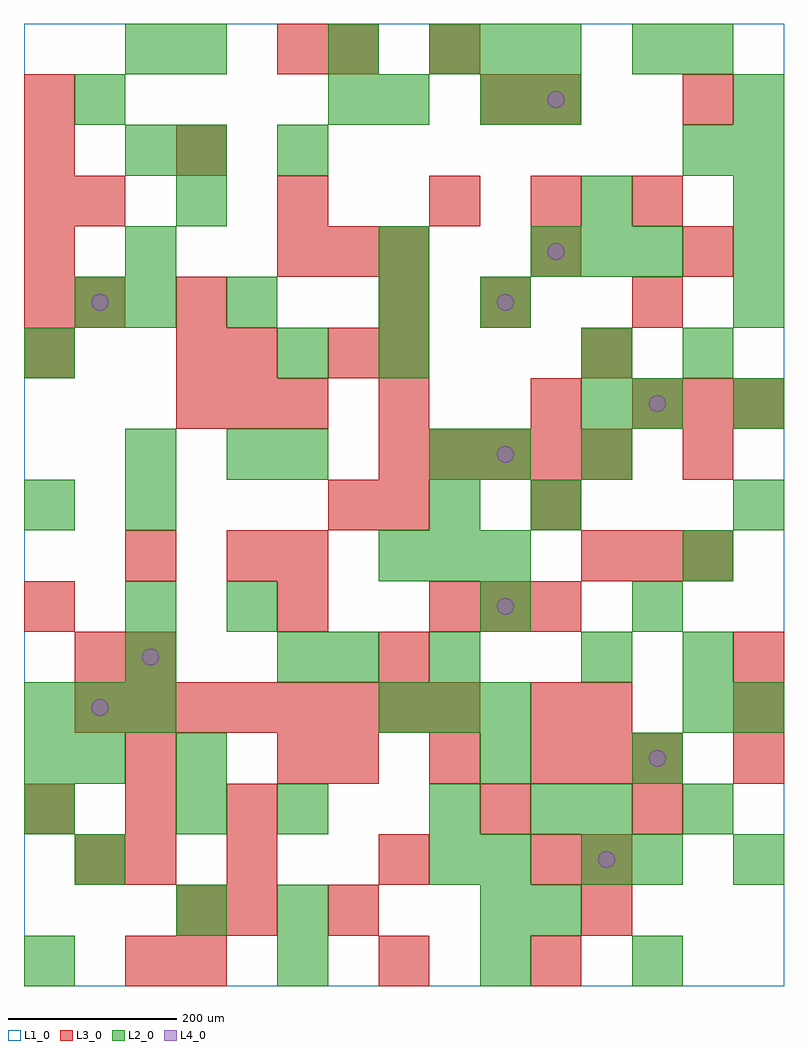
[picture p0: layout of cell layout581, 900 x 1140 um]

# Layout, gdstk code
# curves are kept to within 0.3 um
import gdstk
lib = gdstk.Library(unit=1e-6, precision=1e-09)
def R(c, l, rs):  # rectangles x0, y0, x1, y1
    for r in rs: c.add(gdstk.rectangle(r[:2], r[2:], *l))
def A(c, l, x, y, w, h, nx, ny, dx, dy):  # array of equal rectangles
    R(c, l, [(x+i*dx, y+j*dy, x+i*dx+w, y+j*dy+h) for i in range(nx) for j in range(ny)])
def P(c, l, *ps):  # polygons
    for p in ps: c.add(gdstk.Polygon(p, *l))
L1_0 = (1, 0)
L2_0 = (2, 0)
L3_0 = (3, 0)
L4_0 = (4, 0)

layout581 = lib.new_cell('layout581')
R(layout581, L1_0, [(0,0,900,1140)])
A(layout581, L2_0, 540, 0, 60, 60, 1, 3, 0, 60)
A(layout581, L2_0, 720, 0, 60, 60, 1, 3, 0, 120)
A(layout581, L2_0, 480, 180, 60, 60, 1, 3, 0, 180)
A(layout581, L2_0, 540, 240, 60, 60, 1, 4, 0, 180)
A(layout581, L2_0, 0, 300, 60, 60, 3, 1, 60, 0)
A(layout581, L2_0, 420, 300, 60, 60, 3, 2, 60, 180)
A(layout581, L2_0, 240, 420, 60, 60, 1, 3, 0, 180)
A(layout581, L2_0, 780, 480, 60, 60, 1, 3, 0, 240)
A(layout581, L2_0, 840, 540, 60, 60, 1, 3, 0, 120)
A(layout581, L2_0, 660, 600, 60, 60, 1, 3, 0, 60)
A(layout581, L2_0, 420, 720, 60, 60, 1, 3, 0, 60)
A(layout581, L2_0, 120, 840, 60, 60, 1, 3, 0, 120)
A(layout581, L2_0, 600, 840, 60, 60, 3, 1, 60, 0)
A(layout581, L2_0, 840, 840, 60, 60, 1, 4, 0, 60)
A(layout581, L2_0, 480, 1080, 60, 60, 3, 1, 60, 0)
R(layout581, L2_0, [(0,0,60,60), (300,0,360,60), (180,60,240,120), (300,60,360,120), (600,60,660,120), (60,120,120,180), (480,120,540,180), (660,120,720,180), (840,120,900,180), (0,180,60,240), (180,180,240,240), (300,180,360,240), (600,180,660,240), (660,180,720,240), (780,180,840,240), (0,240,60,300), (60,240,120,300), (180,240,240,300), (780,300,840,360), (840,300,900,360), (120,360,180,420), (300,360,360,420), (360,360,420,420), (660,360,720,420), (780,360,840,420), (120,420,180,480), (720,420,780,480), (0,540,60,600), (120,540,180,600), (600,540,660,600), (120,600,180,660), (300,600,360,660), (480,600,540,660), (720,660,780,720), (0,720,60,780), (300,720,360,780), (60,780,120,840), (120,780,180,840), (180,900,240,960), (660,900,720,960), (180,960,240,1020), (300,960,360,1020), (60,1020,120,1080), (360,1020,420,1080), (420,1020,480,1080), (540,1020,600,1080), (600,1020,660,1080), (180,1080,240,1140), (360,1080,420,1140), (720,1080,780,1140), (780,1080,840,1140)])
A(layout581, L3_0, 120, 0, 60, 60, 1, 5, 0, 120)
A(layout581, L3_0, 240, 120, 60, 60, 3, 1, 180, 0)
A(layout581, L3_0, 0, 180, 60, 60, 3, 1, 120, 0)
A(layout581, L3_0, 360, 240, 60, 60, 3, 1, 120, 0)
A(layout581, L3_0, 840, 240, 60, 60, 1, 3, 0, 60)
A(layout581, L3_0, 60, 300, 60, 60, 8, 1, 60, 0)
A(layout581, L3_0, 480, 420, 60, 60, 3, 1, 60, 0)
A(layout581, L3_0, 660, 480, 60, 60, 3, 1, 60, 0)
A(layout581, L3_0, 420, 600, 60, 60, 5, 1, 60, 0)
A(layout581, L3_0, 180, 660, 60, 60, 3, 1, 60, 0)
A(layout581, L3_0, 420, 660, 60, 60, 1, 3, 0, 60)
A(layout581, L3_0, 600, 660, 60, 60, 1, 3, 0, 180)
A(layout581, L3_0, 720, 660, 60, 60, 3, 1, 60, 0)
A(layout581, L3_0, 0, 720, 60, 60, 1, 6, 0, 60)
A(layout581, L3_0, 300, 840, 60, 60, 3, 1, 60, 0)
A(layout581, L3_0, 480, 900, 60, 60, 3, 1, 120, 0)
R(layout581, L3_0, [(180,0,240,60), (420,0,480,60), (600,0,660,60), (180,60,240,120), (240,60,300,120), (360,60,420,120), (660,60,720,120), (60,120,120,180), (660,120,720,180), (540,180,600,240), (720,180,780,240), (300,240,360,300), (660,240,720,300), (720,240,780,300), (600,300,660,360), (660,300,720,360), (60,360,120,420), (420,360,480,420), (0,420,60,480), (300,420,360,480), (240,480,300,540), (300,480,360,540), (360,540,420,600), (420,540,480,600), (600,540,660,600), (780,600,840,660), (180,720,240,780), (240,720,300,780), (360,720,420,780), (660,720,720,780), (60,780,120,840), (180,780,240,840), (540,780,600,840), (720,780,780,840), (780,840,840,900), (60,900,120,960), (300,900,360,960), (180,960,240,1020), (540,1020,600,1080), (780,1020,840,1080), (300,1080,360,1140), (360,1080,420,1140), (480,1080,540,1140)])
P(layout581, L4_0, [(100,330),(99.239,333.827),(97.071,337.071),(93.827,339.239),(90,340),(86.173,339.239),(82.929,337.071),(80.761,333.827),(80,330),(80.761,326.173),(82.929,322.929),(86.173,320.761),(90,320),(93.827,320.761),(97.071,322.929),(99.239,326.173)],
  [(100,810),(99.239,813.827),(97.071,817.071),(93.827,819.239),(90,820),(86.173,819.239),(82.929,817.071),(80.761,813.827),(80,810),(80.761,806.173),(82.929,802.929),(86.173,800.761),(90,800),(93.827,800.761),(97.071,802.929),(99.239,806.173)],
  [(160,390),(159.239,393.827),(157.071,397.071),(153.827,399.239),(150,400),(146.173,399.239),(142.929,397.071),(140.761,393.827),(140,390),(140.761,386.173),(142.929,382.929),(146.173,380.761),(150,380),(153.827,380.761),(157.071,382.929),(159.239,386.173)],
  [(580,450),(579.239,453.827),(577.071,457.071),(573.827,459.239),(570,460),(566.173,459.239),(562.929,457.071),(560.761,453.827),(560,450),(560.761,446.173),(562.929,442.929),(566.173,440.761),(570,440),(573.827,440.761),(577.071,442.929),(579.239,446.173)],
  [(580,630),(579.239,633.827),(577.071,637.071),(573.827,639.239),(570,640),(566.173,639.239),(562.929,637.071),(560.761,633.827),(560,630),(560.761,626.173),(562.929,622.929),(566.173,620.761),(570,620),(573.827,620.761),(577.071,622.929),(579.239,626.173)],
  [(580,810),(579.239,813.827),(577.071,817.071),(573.827,819.239),(570,820),(566.173,819.239),(562.929,817.071),(560.761,813.827),(560,810),(560.761,806.173),(562.929,802.929),(566.173,800.761),(570,800),(573.827,800.761),(577.071,802.929),(579.239,806.173)],
  [(640,870),(639.239,873.827),(637.071,877.071),(633.827,879.239),(630,880),(626.173,879.239),(622.929,877.071),(620.761,873.827),(620,870),(620.761,866.173),(622.929,862.929),(626.173,860.761),(630,860),(633.827,860.761),(637.071,862.929),(639.239,866.173)],
  [(640,1050),(639.239,1053.827),(637.071,1057.071),(633.827,1059.239),(630,1060),(626.173,1059.239),(622.929,1057.071),(620.761,1053.827),(620,1050),(620.761,1046.173),(622.929,1042.929),(626.173,1040.761),(630,1040),(633.827,1040.761),(637.071,1042.929),(639.239,1046.173)],
  [(700,150),(699.239,153.827),(697.071,157.071),(693.827,159.239),(690,160),(686.173,159.239),(682.929,157.071),(680.761,153.827),(680,150),(680.761,146.173),(682.929,142.929),(686.173,140.761),(690,140),(693.827,140.761),(697.071,142.929),(699.239,146.173)],
  [(760,270),(759.239,273.827),(757.071,277.071),(753.827,279.239),(750,280),(746.173,279.239),(742.929,277.071),(740.761,273.827),(740,270),(740.761,266.173),(742.929,262.929),(746.173,260.761),(750,260),(753.827,260.761),(757.071,262.929),(759.239,266.173)],
  [(760,690),(759.239,693.827),(757.071,697.071),(753.827,699.239),(750,700),(746.173,699.239),(742.929,697.071),(740.761,693.827),(740,690),(740.761,686.173),(742.929,682.929),(746.173,680.761),(750,680),(753.827,680.761),(757.071,682.929),(759.239,686.173)])

lib.write_gds('layout581.gds')
